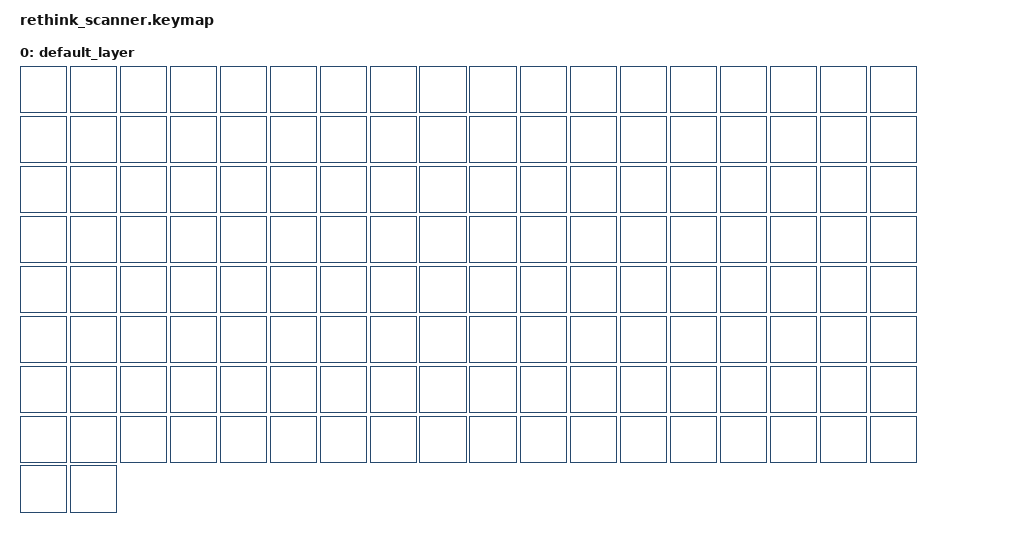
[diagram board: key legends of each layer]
/*
 * Copyright (c) 2026 Ziemniaczenka
 * SPDX-License-Identifier: MIT
 *
 * Every position sends nothing: keys pressed while mapping a keyboard must
 * not type into the host. Row r, column c = position r*18 + c; HOTKEY and
 * PWRSWITCH are 144 and 145.
 */

#include <behaviors.dtsi>

/ {
    keymap {
        compatible = "zmk,keymap";

        default_layer {
            bindings = <
                &none &none &none &none &none &none &none &none &none &none &none &none &none &none &none &none &none &none
                &none &none &none &none &none &none &none &none &none &none &none &none &none &none &none &none &none &none
                &none &none &none &none &none &none &none &none &none &none &none &none &none &none &none &none &none &none
                &none &none &none &none &none &none &none &none &none &none &none &none &none &none &none &none &none &none
                &none &none &none &none &none &none &none &none &none &none &none &none &none &none &none &none &none &none
                &none &none &none &none &none &none &none &none &none &none &none &none &none &none &none &none &none &none
                &none &none &none &none &none &none &none &none &none &none &none &none &none &none &none &none &none &none
                &none &none &none &none &none &none &none &none &none &none &none &none &none &none &none &none &none &none
                &none &none
            >;
        };
    };
};
